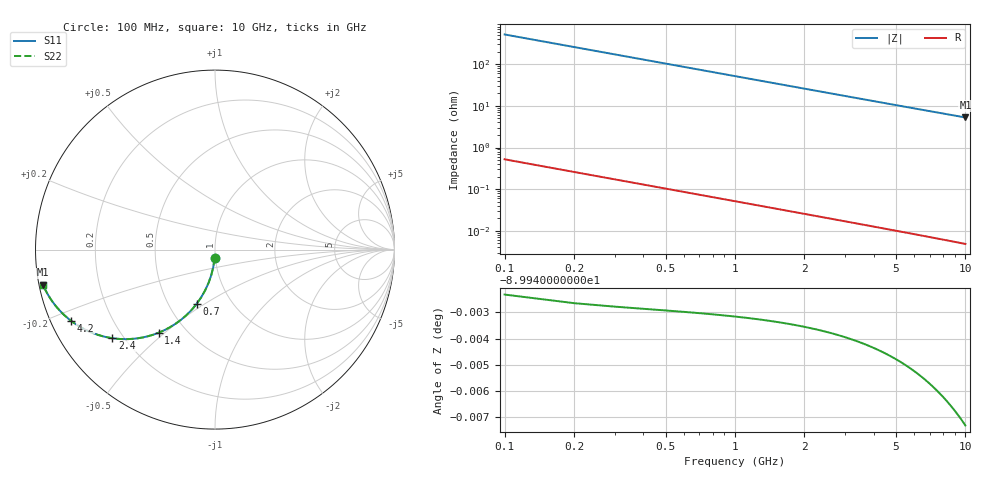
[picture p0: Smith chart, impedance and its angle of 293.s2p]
# Hz S RI R 50.00
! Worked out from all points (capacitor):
!   100 points, 100 MHz to 10 GHz, reference 50 ohm
!   read as one part in shunt: C = 3.07 pF near 100 MHz
!   lowest |Z| = 5.27 ohm at 10 GHz (marker M1)
!   S11 on the Smith chart (normalised r, x): 100 MHz: 0.99, -0.10; 700 MHz: 0.69, -0.46; 1.4 GHz: 0.35, -0.48; 2.4 GHz: 0.16, -0.36; 4.2 GHz: 0.06, -0.23; 10 GHz: 0.01, -0.10
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1e8  -0.00236 -0.0481  0.9976 -0.0482  0.9976 -0.0482  -0.00236 -0.0481
2e8  -0.00932 -0.0956  0.9906 -0.0957  0.9906 -0.0957  -0.00932 -0.0956
3e8  -0.0207 -0.1418  0.9793 -0.1419  0.9793 -0.1419  -0.0207 -0.1418
4e8  -0.0361 -0.186  0.9638 -0.1863  0.9638 -0.1863  -0.0361 -0.186
5e8  -0.0553 -0.2279  0.9447 -0.2282  0.9447 -0.2282  -0.0553 -0.2279
6e8  -0.0776 -0.267  0.9223 -0.2673  0.9223 -0.2673  -0.0776 -0.267
7e8  -0.1028 -0.3029  0.8972 -0.3034  0.8972 -0.3034  -0.1028 -0.3029
8e8  -0.1301 -0.3357  0.8699 -0.3361  0.8699 -0.3361  -0.1301 -0.3357
1e9  -0.1893 -0.3909  0.8107 -0.3915  0.8107 -0.3915  -0.1893 -0.3909
1.2e9  -0.2515 -0.433  0.7485 -0.4337  0.7485 -0.4337  -0.2515 -0.433
1.4e9  -0.3137 -0.4631  0.6863 -0.4639  0.6863 -0.4639  -0.3137 -0.4631
1.8e9  -0.4301 -0.4941  0.5698 -0.4951  0.5698 -0.4951  -0.4301 -0.4941
2.1e9  -0.5066 -0.4988  0.4934 -0.5001  0.4934 -0.5001  -0.5066 -0.4988
2.4e9  -0.5727 -0.4935  0.4273 -0.4949  0.4273 -0.4949  -0.5727 -0.4935
2.9e9  -0.6616 -0.4718  0.3384 -0.4735  0.3384 -0.4735  -0.6616 -0.4718
3.4e9  -0.7286 -0.4431  0.2713 -0.4452  0.2713 -0.4452  -0.7286 -0.4431
4.2e9  -0.8036 -0.3955  0.1964 -0.398  0.1964 -0.398  -0.8036 -0.3955
5.1e9  -0.8576 -0.3473  0.1423 -0.3504  0.1423 -0.3504  -0.8576 -0.3473
5.8e9  -0.8862 -0.3153  0.1138 -0.3189  0.1138 -0.3189  -0.8862 -0.3153
6.7e9  -0.9121 -0.2806  0.0879 -0.2847  0.0879 -0.2847  -0.9121 -0.2806
8.4e9  -0.9421 -0.2303  0.0578 -0.2355  0.0578 -0.2355  -0.9421 -0.2303
1e10  -0.9584 -0.1959  0.0415 -0.2021  0.0415 -0.2021  -0.9584 -0.1959
